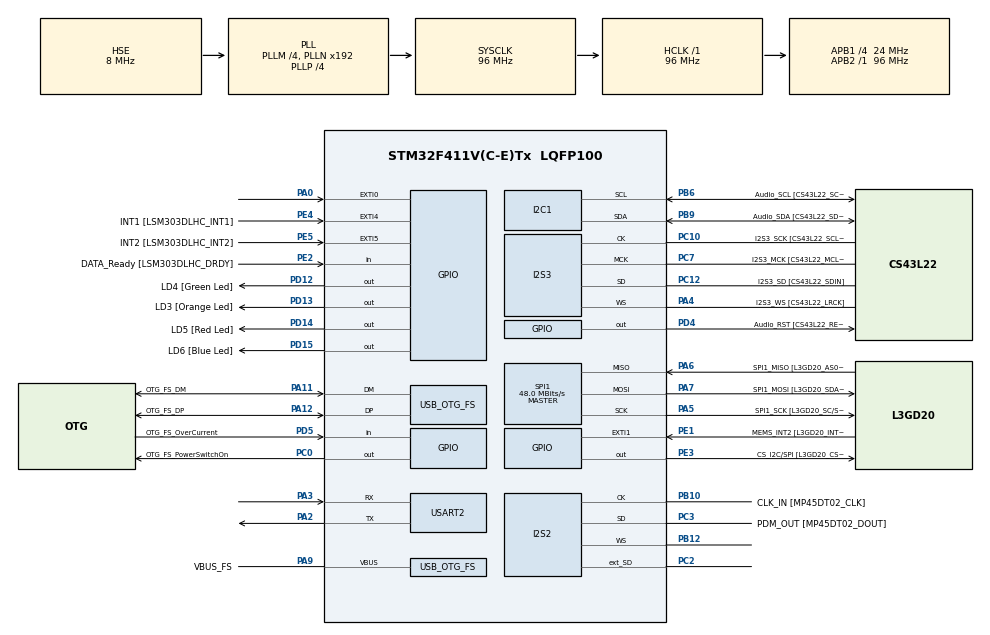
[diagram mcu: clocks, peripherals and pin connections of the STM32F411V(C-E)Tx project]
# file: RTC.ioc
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Dma.Request0=USART2_RX
Dma.USART2_RX.0.Direction=DMA_PERIPH_TO_MEMORY
Dma.USART2_RX.0.FIFOMode=DMA_FIFOMODE_DISABLE
Dma.USART2_RX.0.Instance=DMA1_Stream5
Dma.USART2_RX.0.MemDataAlignment=DMA_MDATAALIGN_BYTE
Dma.USART2_RX.0.MemInc=DMA_MINC_ENABLE
Dma.USART2_RX.0.Mode=DMA_NORMAL
Dma.USART2_RX.0.PeriphDataAlignment=DMA_PDATAALIGN_BYTE
Dma.USART2_RX.0.PeriphInc=DMA_PINC_DISABLE
Dma.USART2_RX.0.Priority=DMA_PRIORITY_LOW
I2S2.AudioFreq=I2S_AUDIOFREQ_96K
I2S2.ErrorAudioFreq=0.15 %
I2S2.FullDuplexMode=I2S_FULLDUPLEXMODE_ENABLE
I2S2.Instance=SPI$Index
I2S2.RealAudioFreq=96.153 KHz
I2S2.VirtualMode=I2S_MODE_MASTER
I2S3.AudioFreq=I2S_AUDIOFREQ_96K
I2S3.ErrorAudioFreq=-6.99 %
I2S3.FullDuplexMode=I2S_FULLDUPLEXMODE_DISABLE
I2S3.Instance=SPI$Index
I2S3.RealAudioFreq=89.285 KHz
I2S3.VirtualMode=I2S_MODE_MASTER
Mcu.Family=STM32F4
Mcu.Name=STM32F411V(C-E)Tx
Mcu.Package=LQFP100
NVIC.DMA1_Stream5_IRQn=true\:0\:0\:false\:false\:true\:false\:true\:true
NVIC.OTG_FS_IRQn=true\:0\:0\:false\:false\:true\:true\:true\:true
NVIC.PriorityGroup=NVIC_PRIORITYGROUP_0
NVIC.RTC_Alarm_IRQn=true\:0\:0\:false\:false\:true\:true\:true\:true
NVIC.USART2_IRQn=true\:0\:0\:false\:false\:true\:true\:true\:true
PA0-WKUP.GPIO_ModeDefaultEXTI=GPIO_MODE_EVT_RISING
PA0-WKUP.Signal=GPXTI0
PA10.GPIO_Label=OTG_FS_ID
PA10.Signal=USB_OTG_FS_ID
PA11.GPIO_Label=OTG_FS_DM
PA11.Mode=Host_Only
PA11.Signal=USB_OTG_FS_DM
PA12.GPIO_Label=OTG_FS_DP
PA12.Mode=Host_Only
PA12.Signal=USB_OTG_FS_DP
PA13.GPIO_Label=SWDIO
PA13.Mode=Serial_Wire
PA13.Signal=SYS_JTMS-SWDIO
PA14.GPIO_Label=SWCLK
PA14.Mode=Serial_Wire
PA14.Signal=SYS_JTCK-SWCLK
PA2.Mode=Asynchronous
PA2.Signal=USART2_TX
PA3.Mode=Asynchronous
PA3.Signal=USART2_RX
PA4.GPIO_Label=I2S3_WS [CS43L22_LRCK]
PA4.GPIO_Mode=GPIO_MODE_AF_PP
PA4.GPIO_PuPd=GPIO_NOPULL
PA4.GPIO_Speed=GPIO_SPEED_FREQ_LOW
PA4.Mode=Half_Duplex_Master
PA4.Signal=I2S3_WS
PA5.GPIO_Label=SPI1_SCK [L3GD20_SC/SPC]
PA5.Mode=Full_Duplex_Master
PA5.Signal=SPI1_SCK
PA6.GPIO_Label=SPI1_MISO [L3GD20_AS0/SDO]
PA6.Mode=Full_Duplex_Master
PA6.Signal=SPI1_MISO
PA7.GPIO_Label=SPI1_MOSI [L3GD20_SDA/SDI/SDO]
PA7.Mode=Full_Duplex_Master
PA7.Signal=SPI1_MOSI
PA9.GPIO_Label=VBUS_FS
PA9.Mode=Activate_VBUS
PA9.Signal=USB_OTG_FS_VBUS
PB10.GPIO_Label=CLK_IN [MP45DT02_CLK]
PB10.Mode=Full_Duplex_Master
PB10.Signal=I2S2_CK
PB12.Mode=Full_Duplex_Master
PB12.Signal=I2S2_WS
PB3.GPIO_Label=SWO
PB3.Signal=SYS_JTDO-SWO
PB6.GPIO_Label=Audio_SCL [CS43L22_SCL]
PB6.GPIO_Mode=GPIO_MODE_AF_OD
PB6.GPIO_Pu=GPIO_PULLUP
PB6.GPIO_PuPd=GPIO_NOPULL
PB6.GPIO_Speed=GPIO_SPEED_FREQ_LOW
PB6.Mode=I2C
PB6.Signal=I2C1_SCL
PB9.GPIO_Label=Audio_SDA [CS43L22_SDA]
PB9.GPIO_Mode=GPIO_MODE_AF_OD
PB9.GPIO_Pu=GPIO_PULLUP
PB9.GPIO_PuPd=GPIO_NOPULL
PB9.GPIO_Speed=GPIO_SPEED_FREQ_LOW
PB9.Mode=I2C
PB9.Signal=I2C1_SDA
PC0.GPIO_Label=OTG_FS_PowerSwitchOn
PC0.PinState=GPIO_PIN_SET
PC0.Signal=GPIO_Output
PC10.GPIO_Label=I2S3_SCK [CS43L22_SCLK]
PC10.GPIO_Mode=GPIO_MODE_AF_PP
PC10.GPIO_PuPd=GPIO_NOPULL
PC10.GPIO_Speed=GPIO_SPEED_FREQ_LOW
PC10.Mode=Half_Duplex_Master
PC10.Signal=I2S3_CK
PC12.GPIO_Label=I2S3_SD [CS43L22_SDIN]
PC12.GPIO_Mode=GPIO_MODE_AF_PP
PC12.GPIO_PuPd=GPIO_NOPULL
PC12.GPIO_Speed=GPIO_SPEED_FREQ_LOW
PC12.Mode=Half_Duplex_Master
PC12.Signal=I2S3_SD
PC14-OSC32_IN.GPIO_Label=PC14-OSC32_IN
PC14-OSC32_IN.Mode=LSE-External-Oscillator
PC14-OSC32_IN.Signal=RCC_OSC32_IN
PC15-OSC32_OUT.GPIO_Label=PC15-OSC32_OUT
PC15-OSC32_OUT.Mode=LSE-External-Oscillator
PC15-OSC32_OUT.Signal=RCC_OSC32_OUT
PC2.Mode=Full_Duplex_Master
PC2.Signal=I2S2_ext_SD
PC3.GPIO_Label=PDM_OUT [MP45DT02_DOUT]
PC3.Mode=Full_Duplex_Master
PC3.Signal=I2S2_SD
PC7.GPIO_Label=I2S3_MCK [CS43L22_MCLK]
PC7.GPIO_Mode=GPIO_MODE_AF_PP
PC7.GPIO_PuPd=GPIO_NOPULL
PC7.GPIO_Speed=GPIO_SPEED_FREQ_LOW
PC7.Mode=Master_Clock_Activated
PC7.Signal=I2S3_MCK
PD12.GPIO_Label=LD4 [Green Led]
PD12.GPIO_PuPd=GPIO_NOPULL
PD12.GPIO_Speed=GPIO_SPEED_FREQ_LOW
PD12.Signal=GPIO_Output
PD13.GPIO_Label=LD3 [Orange Led]
PD13.GPIO_PuPd=GPIO_NOPULL
PD13.GPIO_Speed=GPIO_SPEED_FREQ_LOW
PD13.Signal=GPIO_Output
PD14.GPIO_Label=LD5 [Red Led]
PD14.GPIO_PuPd=GPIO_NOPULL
PD14.GPIO_Speed=GPIO_SPEED_FREQ_LOW
PD14.Signal=GPIO_Output
PD15.GPIO_Label=LD6 [Blue Led]
PD15.GPIO_PuPd=GPIO_NOPULL
PD15.GPIO_Speed=GPIO_SPEED_FREQ_LOW
PD15.Signal=GPIO_Output
PD4.GPIO_Label=Audio_RST [CS43L22_RESET]
PD4.Signal=GPIO_Output
PD5.GPIO_Label=OTG_FS_OverCurrent
PD5.Signal=GPIO_Input
PE1.GPIO_Label=MEMS_INT2 [L3GD20_INT2]
PE1.GPIO_ModeDefaultEXTI=GPIO_MODE_EVT_RISING
PE1.Signal=GPXTI1
PE2.GPIO_Label=DATA_Ready [LSM303DLHC_DRDY]
PE2.Signal=GPIO_Input
PE3.GPIO_Label=CS_I2C/SPI [L3GD20_CS_I2C/SPI]
PE3.Signal=GPIO_Output
PE4.GPIO_Label=INT1 [LSM303DLHC_INT1]
PE4.GPIO_ModeDefaultEXTI=GPIO_MODE_EVT_RISING
PE4.Signal=GPXTI4
PE5.GPIO_Label=INT2 [LSM303DLHC_INT2]
PE5.GPIO_ModeDefaultEXTI=GPIO_MODE_EVT_RISING
PE5.Signal=GPXTI5
PH0\ -\ OSC_IN.GPIO_Label=PH0-OSC_IN
PH0\ -\ OSC_IN.Mode=HSE-External-Oscillator
PH0\ -\ OSC_IN.Signal=RCC_OSC_IN
PH1\ -\ OSC_OUT.GPIO_Label=PH1-OSC_OUT
PH1\ -\ OSC_OUT.Mode=HSE-External-Oscillator
PH1\ -\ OSC_OUT.Signal=RCC_OSC_OUT
ProjectManager.HeapSize=0x200
ProjectManager.StackSize=0x400
ProjectManager.TargetToolchain=Makefile
RCC.48MHZClocksFreq_Value=48000000
RCC.AHBFreq_Value=96000000
RCC.APB1CLKDivider=RCC_HCLK_DIV4
RCC.APB1Freq_Value=24000000
RCC.APB1TimFreq_Value=48000000
RCC.APB2Freq_Value=96000000
RCC.APB2TimFreq_Value=96000000
RCC.CortexFreq_Value=96000000
RCC.HCLKFreq_Value=96000000
RCC.HSE_VALUE=8000000
RCC.HSI_VALUE=16000000
RCC.PLLI2SM=5
RCC.PLLI2SN=200
RCC.PLLM=4
RCC.PLLP=RCC_PLLP_DIV4
RCC.PLLQ=8
RCC.SYSCLKFreq_VALUE=96000000
RCC.SYSCLKSource=RCC_SYSCLKSOURCE_PLLCLK
RCC.VCOOutputFreq_Value=384000000
RTC.Alarm=RTC_ALARM_A
RTC.AlarmDateWeekDaySel=RTC_ALARMDATEWEEKDAYSEL_DATE
RTC.AlarmMaskDateWeekDay=RTC_ALARMMASK_DATEWEEKDAY
RTC.AlarmMaskHours=RTC_ALARMMASK_HOURS
RTC.AlarmMaskMinutes=RTC_ALARMMASK_MINUTES
RTC.Date=6
RTC.Format=RTC_FORMAT_BIN
RTC.Hours=21
RTC.Minutes=0
RTC.Month=RTC_MONTH_SEPTEMBER
RTC.Seconds_A=5
RTC.WeekDay=RTC_WEEKDAY_WEDNESDAY
RTC.Year=23
SPI1.BaudRatePrescaler=SPI_BAUDRATEPRESCALER_2
SPI1.CalculateBaudRate=48.0 MBits/s
SPI1.Direction=SPI_DIRECTION_2LINES
SPI1.Mode=SPI_MODE_MASTER
SPI1.VirtualType=VM_MASTER
USART2.VirtualMode=VM_ASYNC
USB_HOST.BSP.number=1
USB_HOST.USBH_HandleTypeDef=hUsbHostFS
USB_HOST.VirtualModeFS=Cdc
USB_HOST0.BSP.STBoard=false
USB_HOST0.BSP.api=Unknown
USB_HOST0.BSP.instance=PC0
USB_HOST0.BSP.ip=GPIO
USB_HOST0.BSP.mode=Output
USB_HOST0.BSP.name=Drive_VBUS_FS
USB_HOST0.BSP.solution=PC0
USB_OTG_FS.VirtualMode=Host_Only
USB_OTG_FS.phy_itface=HCD_PHY_EMBEDDED
VP_RTC_VS_RTC_Activate.Mode=RTC_Enabled
VP_RTC_VS_RTC_Alarm_A_Intern.Mode=Alarm A
VP_RTC_VS_RTC_Calendar.Mode=RTC_Calendar
VP_USB_HOST_VS_USB_HOST_CDC_FS.Mode=CDC_FS
board=STM32F411E-DISCO

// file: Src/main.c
/* USER CODE BEGIN Header */
/**
  ******************************************************************************
  * @file           : main.c
  * @brief          : Main program body
  ******************************************************************************
  * @attention
  *
  * Copyright (c) 2023 STMicroelectronics.
  * All rights reserved.
  *
  * This software is licensed under terms that can be found in the LICENSE file
  * in the root directory of this software component.
  * If no LICENSE file comes with this software, it is provided AS-IS.
  *
  ******************************************************************************
  */
/* USER CODE END Header */
#include "main.h"
#include "dma.h"
#include "i2c.h"
#include "i2s.h"
#include "rtc.h"
#include "spi.h"
#include "usb_host.h"
#include "gpio.h"
#include "usart.h"
#include <stdio.h>
#include <string.h>

/* USER CODE BEGIN PD */
#define SET_TIME 0
#define UART_BUFFER_SIZE 30
/* USER CODE END PD */

/* USER CODE BEGIN PV */
RTC_DateTypeDef sDate;
RTC_TimeTypeDef sTime;
RTC_AlarmTypeDef sAlarm;
char debug_msg[50];

unsigned char rxByte = 0;
char rxBuffer[UART_BUFFER_SIZE] = {0};
uint16_t rxSize = 0;
int alarm_repeat = 0;

const char weekdayTable[7][4] = {"MON", "TUE", "WED", "THU", "FRI", "SAT", "SUN"};
/* USER CODE END PV */

void SystemClock_Config(void);
void PeriphCommonClock_Config(void);
void MX_USB_HOST_Process(void);

/* USER CODE BEGIN 0 */

// Alarm A callback
void HAL_RTC_AlarmAEventCallback(RTC_HandleTypeDef *hrtc)
{
  HAL_GPIO_TogglePin(LD3_GPIO_Port, LD3_Pin);
  sprintf(debug_msg, "Alarm triggered! \r\n");
  HAL_UART_Transmit(&huart2, (uint8_t*)debug_msg, strlen(debug_msg), 100);

  // trigger-once mode
  if (alarm_repeat == 0) {
    HAL_RTC_DeactivateAlarm(hrtc, RTC_ALARM_A);
  }
}

// UART IDLE Rx callback
void HAL_UARTEx_RxEventCallback(UART_HandleTypeDef *huart, uint16_t Size) {
  char time[9];
  char weekday[4];
  char repeat[7];
  uint8_t date, month, year;

  HAL_UARTEx_ReceiveToIdle_DMA(&huart2, (uint8_t *)rxBuffer, UART_BUFFER_SIZE);
  __HAL_DMA_DISABLE_IT(&hdma_usart2_rx, DMA_IT_HT); // Disable half-transfer interrupt
  rxSize = Size;

  // Parse command. Format examples:
  // - "SET_TIME 19:20:00" or "SET_DATE 10/09/23 SUN"
  // - "SET_ALARM 10:15:15" (Mode trigger-once) or "SET_ALARM 10:15:15 repeat MON|TUE|WED|THU|FRI|SAT|SUN" (Mode repeat)
  if (strncmp(rxBuffer, "SET_TIME", 8) == 0) {
    if (sscanf(rxBuffer, "SET_TIME %d:%d:%d", &sTime.Hours, &sTime.Minutes, &sTime.Seconds) == 3) {
      HAL_RTC_SetTime(&hrtc, &sTime, RTC_FORMAT_BIN);
    }
  }
  else if (strncmp(rxBuffer, "SET_DATE", 8) == 0) {
    if (sscanf(rxBuffer, "SET_DATE %d/%d/%d %3s", &date, &month, &year, weekday) == 4) { // %hhu for uint8_t doesn't work
      for (int i = 0; i < 7; i++) {
        if (strncmp(weekday, weekdayTable[i], 3) == 0) {
          sDate.WeekDay = i + 1;
        }
      }
      sDate.Date = date;
      sDate.Month = month;
      sDate.Year = year;

      HAL_RTC_SetDate(&hrtc, &sDate, RTC_FORMAT_BIN);
    }

  }
  else if (strncmp(rxBuffer, "SET_ALARM", 9) == 0) {
    int parsed = sscanf(rxBuffer, "SET_ALARM %s %s %s", time, repeat, weekday);

    if (parsed >= 1) {
      sscanf(time, "%u:%u:%u", &sAlarm.AlarmTime.Hours, &sAlarm.AlarmTime.Minutes, &sAlarm.AlarmTime.Seconds);

      // Time + repeat
      if (parsed >= 3 && strncmp(repeat, "repeat", 6) == 0) {

        for (int i = 0; i < 7; i++) {
          if (strncmp(weekday, weekdayTable[i], 3) == 0) {
            sAlarm.AlarmDateWeekDay = i + 1;
            break;
          }
        }
        alarm_repeat = 1;
        // TODO: handle invalid weekday
      }
      else {
        // Time only, no repeat. Alarm will be triggered once at the next time match
        // if current time is sooner than alarm time, set alarm date to today, otherwise set to tomorrow
        if (sTime.Hours < sAlarm.AlarmTime.Hours || (sTime.Hours == sAlarm.AlarmTime.Hours && sTime.Minutes < sAlarm.AlarmTime.Minutes) || (sTime.Hours == sAlarm.AlarmTime.Hours && sTime.Minutes == sAlarm.AlarmTime.Minutes && sTime.Seconds < sAlarm.AlarmTime.Seconds)) {
          sAlarm.AlarmDateWeekDay = sDate.WeekDay;
        }
        else {
          sAlarm.AlarmDateWeekDay = sDate.WeekDay + 1;
          if (sAlarm.AlarmDateWeekDay > 7) {
            sAlarm.AlarmDateWeekDay = 1;
          }
        }
        alarm_repeat = 0;
      }
    }

    // Default values
    sAlarm.Alarm = RTC_ALARM_A;
    sAlarm.AlarmTime.DayLightSaving = RTC_DAYLIGHTSAVING_NONE;
    sAlarm.AlarmTime.StoreOperation = RTC_STOREOPERATION_RESET;
    sAlarm.AlarmDateWeekDaySel = RTC_ALARMDATEWEEKDAYSEL_WEEKDAY;
    HAL_RTC_SetAlarm_IT(&hrtc, &sAlarm, RTC_FORMAT_BIN);

    sprintf(debug_msg, "OK - Alarm is set. \r\n");
    HAL_UART_Transmit(&huart2, (uint8_t*)debug_msg, strlen(debug_msg), 100);
  }

  HAL_UART_Receive_IT(&huart2, &rxByte, 1);
}

/* USER CODE END 0 */

int main(void)
{

  /* MCU Configuration--------------------------------------------------------*/

  /* Reset of all peripherals, Initializes the Flash interface and the Systick. */
  HAL_Init();

  /* Configure the system clock */
  SystemClock_Config();

/* Configure the peripherals common clocks */
  PeriphCommonClock_Config();

  /* Initialize all configured peripherals */
  MX_GPIO_Init();
  MX_DMA_Init();
  MX_I2C1_Init();
  MX_I2S2_Init();
  MX_I2S3_Init();
  MX_SPI1_Init();
  MX_USB_HOST_Init();
  MX_RTC_Init();
  MX_USART2_UART_Init();
  /* USER CODE BEGIN 2 */
  HAL_UARTEx_ReceiveToIdle_DMA(&huart2, (uint8_t *)rxBuffer, UART_BUFFER_SIZE);
  __HAL_DMA_DISABLE_IT(&hdma_usart2_rx, DMA_IT_HT); // Disable half-transfer interrupt
  /* USER CODE END 2 */

  /* Infinite loop */
  while (1)
  {
    MX_USB_HOST_Process();

    HAL_RTC_GetTime(&hrtc, &sTime, RTC_FORMAT_BIN);
    HAL_RTC_GetDate(&hrtc, &sDate, RTC_FORMAT_BIN);
    sprintf(debug_msg, "%3s %02d/%02d/%02d %02d:%02d:%02d\r\n", weekdayTable[sDate.WeekDay-1], sDate.Date, sDate.Month, 2000 + sDate.Year, sTime.Hours, sTime.Minutes, sTime.Seconds);
    HAL_UART_Transmit(&huart2, (uint8_t*)debug_msg, strlen(debug_msg), 100);
    HAL_Delay(1000);

  }
}

void SystemClock_Config(void)
{
  RCC_OscInitTypeDef RCC_OscInitStruct = {0};
  RCC_ClkInitTypeDef RCC_ClkInitStruct = {0};

  /** Configure the main internal regulator output voltage
  */
  __HAL_RCC_PWR_CLK_ENABLE();
  __HAL_PWR_VOLTAGESCALING_CONFIG(PWR_REGULATOR_VOLTAGE_SCALE1);

  /** Initializes the RCC Oscillators according to the specified parameters
  * in the RCC_OscInitTypeDef structure.
  */
  RCC_OscInitStruct.OscillatorType = RCC_OSCILLATORTYPE_LSI|RCC_OSCILLATORTYPE_HSE;
  RCC_OscInitStruct.HSEState = RCC_HSE_ON;
  RCC_OscInitStruct.LSIState = RCC_LSI_ON;
  RCC_OscInitStruct.PLL.PLLState = RCC_PLL_ON;
  RCC_OscInitStruct.PLL.PLLSource = RCC_PLLSOURCE_HSE;
  RCC_OscInitStruct.PLL.PLLM = 4;
  RCC_OscInitStruct.PLL.PLLN = 192;
  RCC_OscInitStruct.PLL.PLLP = RCC_PLLP_DIV4;
  RCC_OscInitStruct.PLL.PLLQ = 8;
  if (HAL_RCC_OscConfig(&RCC_OscInitStruct) != HAL_OK)
  {
    Error_Handler();
  }

  /** Initializes the CPU, AHB and APB buses clocks
  */
  RCC_ClkInitStruct.ClockType = RCC_CLOCKTYPE_HCLK|RCC_CLOCKTYPE_SYSCLK
                              |RCC_CLOCKTYPE_PCLK1|RCC_CLOCKTYPE_PCLK2;
  RCC_ClkInitStruct.SYSCLKSource = RCC_SYSCLKSOURCE_PLLCLK;
  RCC_ClkInitStruct.AHBCLKDivider = RCC_SYSCLK_DIV1;
  RCC_ClkInitStruct.APB1CLKDivider = RCC_HCLK_DIV4;
  RCC_ClkInitStruct.APB2CLKDivider = RCC_HCLK_DIV1;

  if (HAL_RCC_ClockConfig(&RCC_ClkInitStruct, FLASH_LATENCY_3) != HAL_OK)
  {
    Error_Handler();
  }
}

void PeriphCommonClock_Config(void)
{
  RCC_PeriphCLKInitTypeDef PeriphClkInitStruct = {0};

  /** Initializes the peripherals clock
  */
  PeriphClkInitStruct.PeriphClockSelection = RCC_PERIPHCLK_I2S;
  PeriphClkInitStruct.PLLI2S.PLLI2SN = 200;
  PeriphClkInitStruct.PLLI2S.PLLI2SM = 5;
  PeriphClkInitStruct.PLLI2S.PLLI2SR = 2;
  if (HAL_RCCEx_PeriphCLKConfig(&PeriphClkInitStruct) != HAL_OK)
  {
    Error_Handler();
  }
}

void Error_Handler(void)
{
  __disable_irq();
  while (1)
  {
  }
}
